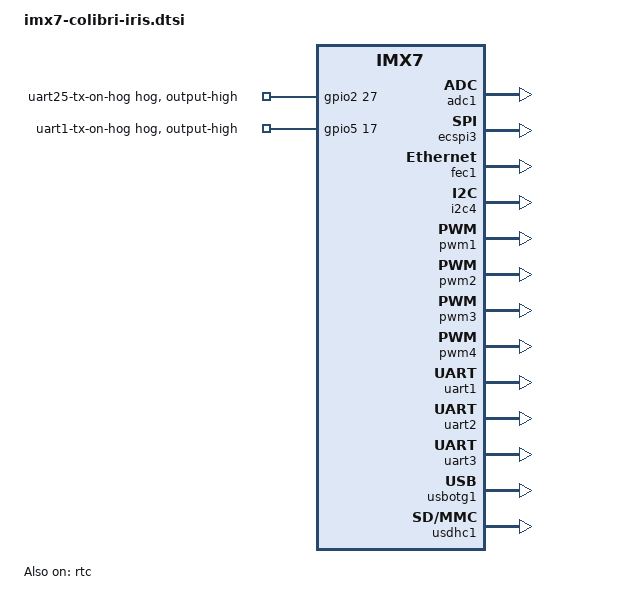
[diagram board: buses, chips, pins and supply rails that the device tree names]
&adc1 {
	status = "okay";
};
&atmel_mxt_ts {
	interrupt-parent = <&gpio1>;
	interrupts = <9 IRQ_TYPE_EDGE_FALLING>;		 
	pinctrl-0 = <&pinctrl_atmel_adapter>;
	reset-gpios = <&gpio1 10 GPIO_ACTIVE_LOW>;	 
};
&ecspi3 {
	status = "okay";
};
&fec1 {
	status = "okay";
};
&gpio2 {
	uart25-tx-on-hog {
		gpio-hog;
		gpios = <27 GPIO_ACTIVE_HIGH>;  
		output-high;
	};
};
&gpio5 {
	uart1-tx-on-hog {
		gpio-hog;
		gpios = <17 GPIO_ACTIVE_HIGH>;  
		output-high;
	};
};
&i2c4 {
	status = "okay";
};
&pwm1 {
	status = "okay";
};
&pwm2 {
	status = "okay";
};
&pwm3 {
	status = "okay";
};
&pwm4 {
	status = "okay";
};
&rtc {
	status = "okay";
};
&uart1 {
	status = "okay";
};
&uart2 {
	status = "okay";
};
&uart3 {
	status = "okay";
};
&usbotg1 {
	disable-over-current;
	status = "okay";
};
&usdhc1 {
	status = "okay";
};
